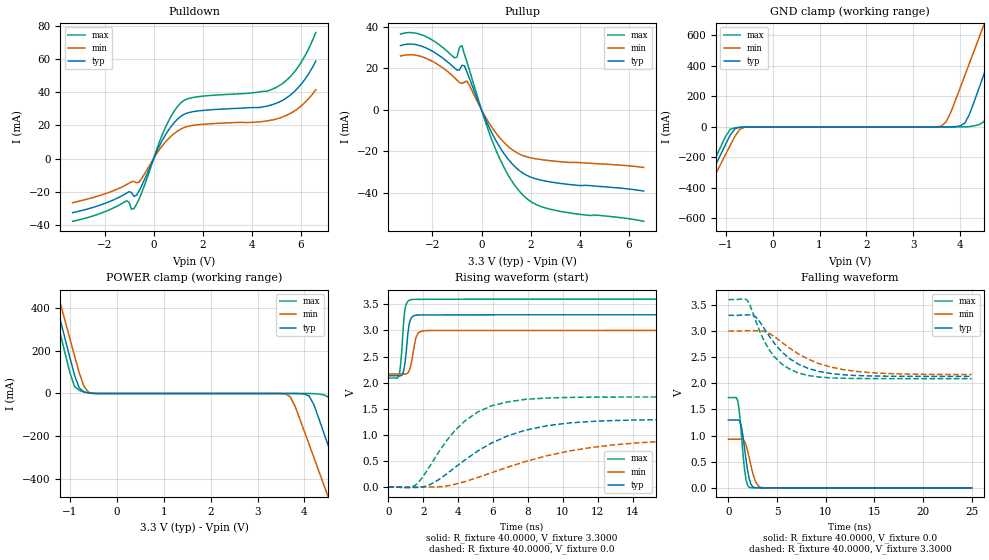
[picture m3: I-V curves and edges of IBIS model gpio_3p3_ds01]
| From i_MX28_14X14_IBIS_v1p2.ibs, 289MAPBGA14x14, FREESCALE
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|   Model gpio_3p3_ds01
| This model was characterised for following simulation conditions:
| Spice Models:
|  - Typ Condition
|   ..../Ringo/backup/r63536/IBIS/GPIO_IBIS/io_dig_gpio_bs_ir_3p3_8mA/typ.model
|  - Min Condition
|   ..../Ringo/backup/r63536/IBIS/GPIO_IBIS/io_dig_gpio_bs_ir_3p3_8mA/wcs.model
|  - Max Condition
|   ..../Ringo/backup/r63536/IBIS/GPIO_IBIS/io_dig_gpio_bs_ir_3p3_8mA/bcs.model
[Model]  gpio_3p3_ds01
Model_type I/O
Polarity   Non-Inverting
Enable   Active-Low
Vinl =   0.8000V
Vinh =   2.0000V
Vmeas =  1.6500V
Cref =   0.0F
Rref =   40.0000
Vref =   1.6500V
C_comp   2.0125pF   1.8484pF   2.2049pF
[Temperature Range]   25.0000   0.1050k   -40.0000
[Voltage Range]   3.3000V   3.0000V   3.6000V
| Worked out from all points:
|   slope of the pulldown table from 0 to 0.495 V, typ, clamps not added: 33.7 ohm
|   slope of the pullup table from 0 to 0.495 V, typ, clamps not added: 38.5 ohm
|   GND clamp passes 1 mA (typ) near -0.62 V on its own axis
|   POWER clamp passes 1 mA (typ) near -0.53 V on its own axis
|   rising waveform, R_fixture 40.0000, V_fixture 3.3000: 20-80 % time 222ps typ, 273ps min, 201ps max; typ from 2.13 V to 3.3 V
|   rising waveform, R_fixture 40.0000, V_fixture 0.0: 20-80 % time 4ns typ, 6.19ns min, 2.61ns max; typ from 0 V to 1.3 V
|   falling waveform, R_fixture 40.0000, V_fixture 0.0: 20-80 % time 598ps typ, 748ps min, 500ps max; typ from 1.3 V to 0 V
|   falling waveform, R_fixture 40.0000, V_fixture 3.3000: 20-80 % time 3.59ns typ, 4.96ns min, 2.76ns max; typ from 3.3 V to 2.13 V
[Pulldown]
|Voltage   I(typ)   I(min)   I(max)
-3.3V     -32.64mA   -26.61mA   -37.85mA
-1.1V     -20.87mA   -15.69mA   -25.43mA
-900mV    -20.55mA   -14.02mA   -30.62mA
-800mV    -22.81mA   -13.79mA   -30.12mA
-600mV    -19.66mA   -14.34mA   -24.66mA
400mV     12.33mA    8.644mA    16.18mA
800mV     21.04mA    14.69mA    27.75mA
1.1V      25.44mA    17.75mA    33.56mA
1.7V      28.53mA    20.24mA    37.12mA
5V        33.42mA    23.91mA    43.05mA
5.9V      43.05mA    30.49mA    55.7mA
6.6V      58.78mA    41.49mA    76.05mA
[Pullup]
|Voltage   I(typ)   I(min)   I(max)
-3.3V     31.06mA    26mA       36.61mA
-2.3V     30.12mA    25.1mA     35.58mA
-1.1V     20.23mA    15.54mA    25.14mA
-900mV    19.3mA     13.28mA    30.23mA
-800mV    21.54mA    12.77mA    31mA
-600mV    18.49mA    13.94mA    23.28mA
100mV     -2.884mA   -2.195mA   -3.738mA
600mV     -15.14mA   -11.39mA   -19.81mA
1.2V      -25.43mA   -18.76mA   -33.73mA
1.9V      -31.94mA   -22.86mA   -43.38mA
3.2V      -35.47mA   -25mA      -48.97mA
6.6V      -39.19mA   -27.77mA   -53.78mA
[GND_clamp]
|Voltage   I(typ)   I(min)   I(max)
-3.3V     -1.586A    -1.578A    -1.597A
-1.9V     -687.6mA   -724.2mA   -659.8mA
-1.7V     -559.7mA   -602.7mA   -526.1mA
-900mV    -52.23mA   -118.9mA   -14.88mA
-600mV    -643.9uA   -1.888mA   -689.4uA
3.6V      4.033uA    5.912mA    120.9pA
4.1V      26.14mA    339.7mA    221.8uA
4.4V      255.2mA    585.2mA    14.68mA
4.6V      427.7mA    750mA      99.17mA
4.9V      688.3mA    998.8mA    368.1mA
5.2V      951.2mA    1.25A      641.7mA
6.6V      2.221A     2.454A     1.965A
[POWER_clamp]
|Voltage   I(typ)   I(min)   I(max)
-3.3V     2.221A     2.191A     2.262A
-1.4V     514.3mA    585.2mA    459mA
-1.2V     341.3mA    421.4mA    277.5mA
-900mV    86.48mA    177.1mA    33.14mA
-700mV    7.36mA     34.01mA    7.302mA
3.6V      -3.447uA   -1.888mA   -318.6pA
3.8V      -92.08uA   -60.05mA   -2.661uA
4.1V      -11.61mA   -239.4mA   -74.75uA
4.5V      -240.5mA   -481.3mA   -14.88mA
4.9V      -495.7mA   -724.2mA   -259.1mA
5.2V      -687.6mA   -906.7mA   -459.3mA
6.6V      -1.586A    -1.761A    -1.396A
[Ramp]
| variable   typ   min   max
dV/dt_r  0.7785/3.9987n   0.5565/6.1712n   1.0356/2.5815n
dV/dt_f  0.7011/3.5919n   0.5001/4.8937n   0.9070/2.7394n
R_load = 40.0000
[Rising Waveform]
R_fixture= 40.0000
V_fixture= 3.3000
V_fixture_min= 3.0000
V_fixture_max= 3.6000
|time   V(typ)   V(min)   V(max)
0s        2.131V     2.165V     2.088V
601.7ps   2.131V     2.165V     2.133V
725.7ps   2.134V     2.165V     2.433V
843.1ps   2.19V      2.165V     3.01V
991.1ps   2.489V     2.166V     3.465V
1.181ns   3.103V     2.218V     3.575V
1.306ns   3.235V     2.358V     3.59V
1.574ns   3.292V     2.857V     3.595V
2.182ns   3.297V     2.998V     3.597V
25ns      3.3V       3V         3.6V
[Rising Waveform]
R_fixture= 40.0000
V_fixture= 0.0
V_fixture_min= 0.0
V_fixture_max= 0.0
|time   V(typ)   V(min)   V(max)
0s        3.677nV    17.33nV    4.585nV
1.541ns   -1.344mV   -9.997mV   35.99mV
2.628ns   88.42mV    467.6uV    535.7mV
3.359ns   255.8mV    21.69mV    898.4mV
4.393ns   520.8mV    104.8mV    1.269V
5.906ns   842.6mV    274.2mV    1.556V
6.831ns   980.6mV    380.8mV    1.631V
9.135ns   1.178V     604mV      1.706V
12.89ns   1.274V     807.2mV    1.724V
25ns      1.298V     927.4mV    1.726V
[Falling Waveform]
R_fixture= 40.0000
V_fixture= 0.0
V_fixture_min= 0.0
V_fixture_max= 0.0
|time   V(typ)   V(min)   V(max)
0s        1.298V     931.5mV    1.726V
965.6ps   1.298V     931.5mV    1.651V
1.287ns   1.204V     931.5mV    1.121V
1.669ns   735.8mV    884mV      331mV
1.948ns   357.6mV    726.1mV    58.17mV
2.126ns   183.7mV    581.6mV    10.81mV
2.319ns   68.13mV    418.8mV    2.675mV
2.779ns   1.367mV    124.3mV    1.319mV
3.633ns   975uV      1.226mV    732.2uV
25ns      251.9nV    1.889uV    25.99nV
[Falling Waveform]
R_fixture= 40.0000
V_fixture= 3.3000
V_fixture_min= 3.0000
V_fixture_max= 3.6000
|time   V(typ)   V(min)   V(max)
0s        3.3V       3V         3.6V
1.955ns   3.307V     3.005V     3.583V
2.785ns   3.27V      3.005V     3.204V
3.488ns   3.102V     2.999V     2.881V
4.249ns   2.885V     2.948V     2.626V
5.502ns   2.598V     2.781V     2.366V
7.155ns   2.369V     2.566V     2.199V
9.341ns   2.224V     2.374V     2.119V
13.09ns   2.149V     2.228V     2.091V
25ns      2.131V     2.166V     2.088V
